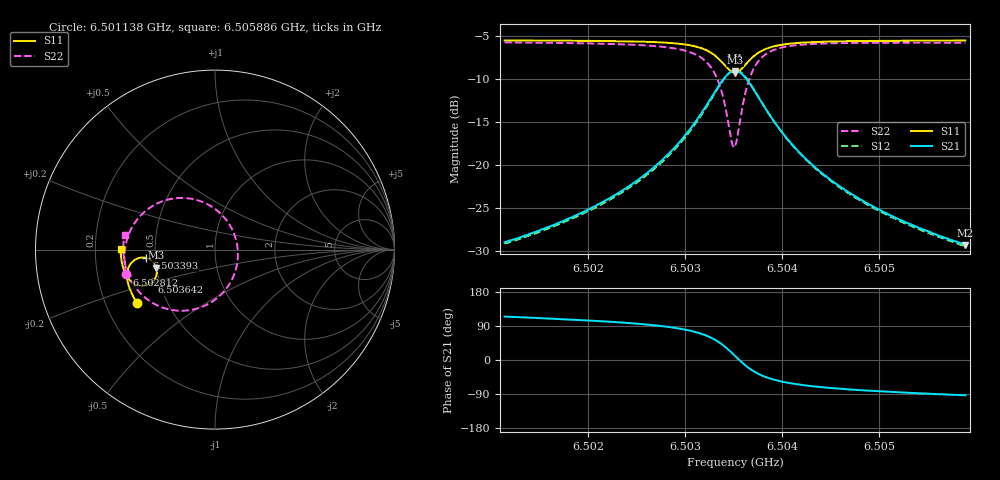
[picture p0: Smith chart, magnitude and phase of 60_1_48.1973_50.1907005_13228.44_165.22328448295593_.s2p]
#  HZ  S  RI  R  50.00
! Rohde & Schwarz Vector Network Analyzer
! Rohde-Schwarz,ZNB20-2Port,1311601062101988,3.16
! Created: UTC 3/20/2024, 11:38:43 AM
! freq[Hz]  re:S11  im:S11  re:S21  im:S21  re:S12  im:S12  re:S22  im:S22
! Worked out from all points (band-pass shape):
!   401 points, 6.501138 GHz to 6.505886 GHz, reference 50 ohm
!   highest |S21| = -9.09 dB at 6.503512 GHz (marker M1); lowest = -29.3 dB at 6.505886 GHz (marker M2)
!   |S21| within 3 dB of the highest: 6.503274 GHz to 6.503749 GHz (474.8 kHz wide, 0.0073 % of centre)
!   lowest |S11| = -9.3 dB at 6.503512 GHz (marker M3), VSWR 2.04, Z = 24.9 - j5.7 ohm
!   |S11| at or under -10 dB: nowhere
!   |S22| runs from -18.0 to -5.8 dB; largest |S21 - S12| = 0.012
!   S11 on the Smith chart (normalised r, x): 6.501138 GHz: 0.34, -0.28; 6.502812 GHz: 0.33, -0.13; 6.503393 GHz: 0.45, -0.05; 6.503642 GHz: 0.46, -0.20; 6.505886 GHz: 0.31, +0.00
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6.501138e9  -0.4347 -0.2971  -0.0148 0.0323  -0.013 0.0323  -0.4946 -0.136
6.5019332e9  -0.4677 -0.2364  -0.0138 0.0509  -0.0113 0.0504  -0.5046 -0.0479
6.5023962e9  -0.4831 -0.1937  -0.0102 0.073  -0.00697 0.0716  -0.4984 0.0224
6.5027285e9  -0.4899 -0.1548  -0.000621 0.1024  0.00313 0.1  -0.4769 0.0945
6.5028116e9  -0.4902 -0.1432  0.00437 0.1133  0.00815 0.1103  -0.4659 0.1178
6.5030134e9  -0.4854 -0.1091  0.028 0.149  0.0316 0.1444  -0.4166 0.1873
6.5031558e9  -0.4704 -0.0789  0.0671 0.1835  0.0698 0.1775  -0.3409 0.2471
6.5032982e9  -0.4308 -0.0492  0.152 0.2127  0.1525 0.2064  -0.1858 0.2879
6.5033932e9  -0.3825 -0.0469  0.2466 0.1947  0.2466 0.1901  -0.0217 0.2412
6.5034763e9  -0.3381 -0.0779  0.327 0.1167  0.3297 0.1126  0.1067 0.0869
6.5035119e9  -0.3271 -0.101  0.3449 0.066  0.3489 0.0605  0.1273 -0.00863
6.5035356e9  -0.3241 -0.1178  0.3481 0.0302  0.3524 0.0231  0.1241 -0.0745
6.5035712e9  -0.3265 -0.1429  0.3401 -0.0216  0.3437 -0.031  0.0946 -0.1668
6.5036424e9  -0.3496 -0.1814  0.291 -0.1003  0.291 -0.1122  -0.0209 -0.2934
6.5036899e9  -0.371 -0.1954  0.2494 -0.1297  0.2465 -0.1414  -0.1082 -0.3307
6.5037493e9  -0.3968 -0.2023  0.2007 -0.1464  0.1953 -0.1567  -0.2042 -0.3403
6.5038917e9  -0.4425 -0.1944  0.119 -0.1431  0.1115 -0.1489  -0.352 -0.2944
6.5040579e9  -0.4723 -0.1733  0.0695 -0.1214  0.0628 -0.1239  -0.432 -0.225
6.5043071e9  -0.4951 -0.142  0.0356 -0.0935  0.0306 -0.0941  -0.4808 -0.1452
6.5046751e9  -0.5114 -0.1022  0.0154 -0.0681  0.0119 -0.0677  -0.5047 -0.0666
6.5051024e9  -0.5205 -0.0619  0.00546 -0.051  0.00299 -0.0503  -0.5108 -0.00271
6.5058858e9  -0.5261 0.00536  -0.00187 -0.0343  -0.00334 -0.0336  -0.504 0.0836
